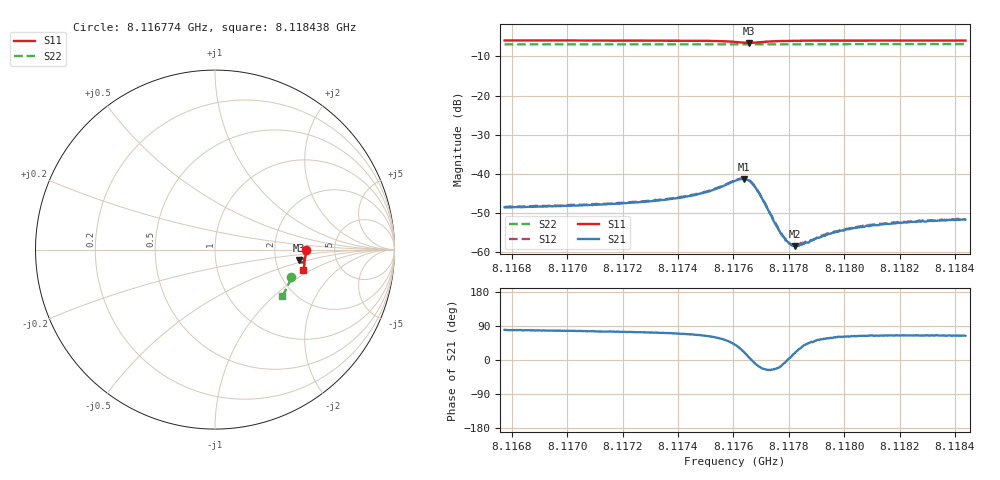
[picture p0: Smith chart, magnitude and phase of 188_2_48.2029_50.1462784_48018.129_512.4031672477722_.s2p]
#  HZ  S  RI  R  50.00
! Rohde & Schwarz Vector Network Analyzer
! Rohde-Schwarz,ZNB20-2Port,1311601062101988,3.16
! Created: UTC 3/20/2024, 11:44:31 AM
! freq[Hz]  re:S11  im:S11  re:S21  im:S21  re:S12  im:S12  re:S22  im:S22
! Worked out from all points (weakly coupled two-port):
!   401 points, 8.116774 GHz to 8.118438 GHz, reference 50 ohm
!   highest |S21| = -41.34 dB at 8.117639 GHz (marker M1); lowest = -58.5 dB at 8.117822 GHz (marker M2)
!   lowest |S11| = -6.5 dB at 8.117656 GHz (marker M3), VSWR 2.78, Z = 136 - j20.3 ohm
!   |S11| at or under -10 dB: nowhere
!   |S22| runs from -6.9 to -6.8 dB; largest |S21 - S12| = 0.0002
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8.1167739e9  0.5064 0.000204  0.000676 0.00366  0.00074 0.00365  0.4231 -0.1542
8.1170526e9  0.5054 -0.0215  0.000923 0.00383  0.000998 0.00385  0.4168 -0.1727
8.1173313e9  0.5029 -0.0447  0.00142 0.00432  0.00149 0.0044  0.4096 -0.1909
8.1174145e9  0.5011 -0.0525  0.00176 0.00466  0.00187 0.00472  0.4074 -0.1962
8.1174935e9  0.4977 -0.0611  0.00245 0.00515  0.00258 0.00523  0.4049 -0.2015
8.1175476e9  0.4927 -0.0679  0.00355 0.00558  0.00363 0.00565  0.4031 -0.2049
8.1176058e9  0.48 -0.0724  0.00617 0.00522  0.00633 0.00529  0.4008 -0.2085
8.1176391e9  0.4696 -0.0658  0.00804 0.00297  0.0082 0.00293  0.3996 -0.21
8.1176558e9  0.4679 -0.0582  0.00809 0.00107  0.00827 0.00102  0.3993 -0.2106
8.1176724e9  0.4707 -0.0511  0.00713 -0.000634  0.00729 -0.000695  0.3989 -0.2113
8.117689e9  0.4766 -0.047  0.00571 -0.00157  0.00578 -0.00167  0.3986 -0.2123
8.1177556e9  0.4937 -0.0528  0.00199 -0.000827  0.00204 -0.000863  0.3974 -0.2167
8.1177806e9  0.4959 -0.0567  0.00155 -0.000269  0.00153 -0.000312  0.3967 -0.2183
8.1178055e9  0.4973 -0.0604  0.00125 0.000138  0.00126 0.000146  0.396 -0.2201
8.1178222e9  0.4978 -0.0625  0.00112 0.000368  0.00119 0.000357  0.3955 -0.2212
8.117843e9  0.4982 -0.0652  0.00107 0.000647  0.0011 0.00069  0.3948 -0.2225
8.1178845e9  0.4986 -0.0701  0.000952 0.00103  0.000948 0.00104  0.3936 -0.2253
8.1179428e9  0.4984 -0.0759  0.00091 0.00142  0.000947 0.00146  0.3916 -0.2288
8.1180135e9  0.4978 -0.0826  0.000899 0.00173  0.000944 0.00172  0.3893 -0.2333
8.1181009e9  0.4967 -0.0898  0.000934 0.00198  0.000978 0.00199  0.3863 -0.2387
8.1181632e9  0.4958 -0.0951  0.000967 0.00206  0.000998 0.00211  0.3842 -0.2424
8.1184378e9  0.4913 -0.1161  0.00113 0.00232  0.00116 0.00235  0.3743 -0.259
